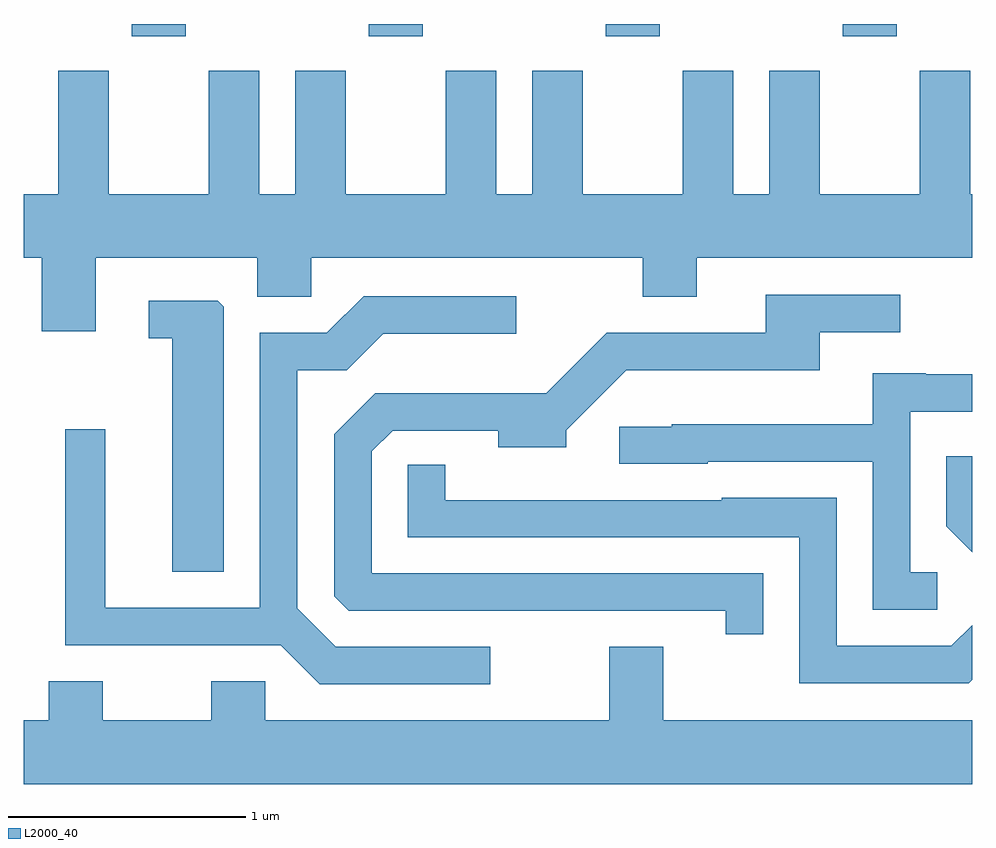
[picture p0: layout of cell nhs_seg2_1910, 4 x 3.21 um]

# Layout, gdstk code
import gdstk
lib = gdstk.Library(unit=1e-6, precision=1e-09)
def R(c, l, rs):  # rectangles x0, y0, x1, y1
    for r in rs: c.add(gdstk.rectangle(r[:2], r[2:], *l))
def A(c, l, x, y, w, h, nx, ny, dx, dy):  # array of equal rectangles
    R(c, l, [(x+i*dx, y+j*dy, x+i*dx+w, y+j*dy+h) for i in range(nx) for j in range(ny)])
def P(c, l, *ps):  # polygons
    for p in ps: c.add(gdstk.Polygon(p, *l))
L2000_40 = (2000, 40)

nhs_seg2_1910 = lib.new_cell('nhs_seg2_1910')
A(nhs_seg2_1910, L2000_40, 242.066, 993.751, 0.228, 0.051, 4, 1, 1, 0)
P(nhs_seg2_1910, L2000_40, [(242.391,993.084),(241.969,993.084),(241.969,993.604),(241.756,993.604),(241.756,993.084),(241.611,993.084),(241.611,992.816),(241.686,992.816),(241.686,992.506),(241.914,992.506),(241.914,992.816),(242.596,992.816),(242.596,992.651),(242.824,992.651),(242.824,992.816),(244.221,992.816),(244.221,992.651),(244.449,992.651),(244.449,992.816),(245.611,992.816),(245.611,993.084),(245.604,993.084),(245.604,993.604),(245.391,993.604),(245.391,993.084),(244.969,993.084),(244.969,993.604),(244.756,993.604),(244.756,993.084),(244.604,993.084),(244.604,993.604),(244.391,993.604),(244.391,993.084),(243.969,993.084),(243.969,993.604),(243.756,993.604),(243.756,993.084),(243.604,993.084),(243.604,993.604),(243.391,993.604),(243.391,993.084),(242.969,993.084),(242.969,993.604),(242.756,993.604),(242.756,993.084),(242.604,993.084),(242.604,993.604),(242.391,993.604)],
  [(244.729,991.484),(243.079,991.484),(243.079,991.999),(243.167,992.086),(243.611,992.086),(243.611,992.016),(243.899,992.016),(243.899,992.089),(244.152,992.341),(244.969,992.341),(244.969,992.501),(245.308,992.501),(245.308,992.659),(244.741,992.659),(244.741,992.499),(244.069,992.499),(243.814,992.244),(243.094,992.244),(242.921,992.072),(242.921,991.387),(242.982,991.326),(244.571,991.326),(244.571,991.228),(244.729,991.228)],
  [(243.578,991.174),(242.927,991.174),(242.764,991.337),(242.764,992.341),(242.972,992.341),(243.127,992.496),(243.688,992.496),(243.688,992.654),(243.044,992.654),(242.889,992.499),(242.606,992.499),(242.606,991.339),(241.954,991.339),(241.954,992.093),(241.786,992.093),(241.786,991.181),(242.694,991.181),(242.859,991.016),(243.578,991.016)],
  [(242.454,992.609),(242.429,992.634),(242.138,992.634),(242.138,992.476),(242.236,992.476),(242.236,991.491),(242.454,991.491)],
  [(245.463,991.489),(245.349,991.489),(245.349,992.166),(245.611,992.166),(245.611,992.324),(245.415,992.324),(245.415,992.329),(245.191,992.329),(245.191,992.114),(244.345,992.114),(244.345,992.104),(244.123,992.104),(244.123,991.946),(244.495,991.946),(244.495,991.956),(245.191,991.956),(245.191,991.331),(245.463,991.331)],
  [(245.611,991.978),(245.501,991.978),(245.501,991.684),(245.611,991.574)],
  [(245.611,991.035),(245.611,991.266),(245.524,991.179),(245.039,991.179),(245.039,991.804),(244.555,991.804),(244.555,991.794),(243.389,991.794),(243.389,991.943),(243.231,991.943),(243.231,991.636),(244.881,991.636),(244.881,991.021),(245.597,991.021)],
  [(245.611,990.864),(244.309,990.864),(244.309,991.174),(244.081,991.174),(244.081,990.864),(242.629,990.864),(242.629,991.029),(242.401,991.029),(242.401,990.864),(241.944,990.864),(241.944,991.029),(241.716,991.029),(241.716,990.864),(241.611,990.864),(241.611,990.596),(245.611,990.596)])

lib.write_gds('nhs_seg2_1910.gds')
